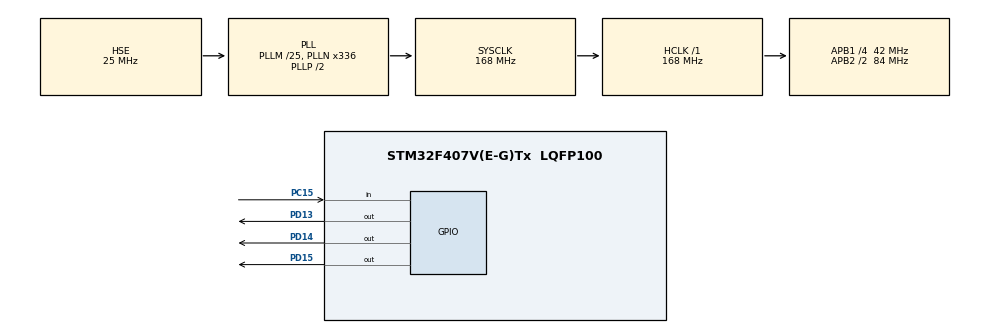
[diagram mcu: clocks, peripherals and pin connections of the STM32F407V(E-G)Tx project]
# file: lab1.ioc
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Mcu.Family=STM32F4
Mcu.Name=STM32F407V(E-G)Tx
Mcu.Package=LQFP100
NVIC.PriorityGroup=NVIC_PRIORITYGROUP_4
PA13.Mode=JTAG_5_pins
PA13.Signal=SYS_JTMS-SWDIO
PA14.Mode=JTAG_5_pins
PA14.Signal=SYS_JTCK-SWCLK
PA15.Mode=JTAG_5_pins
PA15.Signal=SYS_JTDI
PB3.Mode=JTAG_5_pins
PB3.Signal=SYS_JTDO-SWO
PB4.Mode=JTAG_5_pins
PB4.Signal=SYS_JTRST
PC15-OSC32_OUT.Signal=GPIO_Input
PD13.Signal=GPIO_Output
PD14.Signal=GPIO_Output
PD15.Signal=GPIO_Output
PH0-OSC_IN.Mode=HSE-External-Oscillator
PH0-OSC_IN.Signal=RCC_OSC_IN
PH1-OSC_OUT.Mode=HSE-External-Oscillator
PH1-OSC_OUT.Signal=RCC_OSC_OUT
ProjectManager.HeapSize=0x200
ProjectManager.StackSize=0x400
ProjectManager.TargetToolchain=STM32CubeIDE
RCC.48MHZClocksFreq_Value=84000000
RCC.AHBFreq_Value=168000000
RCC.APB1CLKDivider=RCC_HCLK_DIV4
RCC.APB1Freq_Value=42000000
RCC.APB1TimFreq_Value=84000000
RCC.APB2CLKDivider=RCC_HCLK_DIV2
RCC.APB2Freq_Value=84000000
RCC.APB2TimFreq_Value=168000000
RCC.CortexFreq_Value=168000000
RCC.HCLKFreq_Value=168000000
RCC.HSE_VALUE=25000000
RCC.HSI_VALUE=16000000
RCC.LSE_VALUE=32768
RCC.PLLM=25
RCC.PLLN=336
RCC.PLLSourceVirtual=RCC_PLLSOURCE_HSE
RCC.SYSCLKFreq_VALUE=168000000
RCC.SYSCLKSource=RCC_SYSCLKSOURCE_PLLCLK
RCC.VCOOutputFreq_Value=336000000
board=custom

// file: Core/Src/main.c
/* USER CODE BEGIN Header */
/**
  ******************************************************************************
  * @file           : main.c
  * @brief          : Main program body
  ******************************************************************************
  * @attention
  *
  * <h2><center>&copy; Copyright (c) 2021 STMicroelectronics.
  * All rights reserved.</center></h2>
  *
  * This software component is licensed by ST under BSD 3-Clause license,
  * the "License"; You may not use this file except in compliance with the
  * License. You may obtain a copy of the License at:
  *                        opensource.org/licenses/BSD-3-Clause
  *
  ******************************************************************************
  */
/* USER CODE END Header */
#include "main.h"
#include "gpio.h"

/* USER CODE BEGIN Includes */
#include "drivers.h"
/* USER CODE END Includes */

void SystemClock_Config(void);

int main(void)
{

  /* MCU Configuration--------------------------------------------------------*/

  /* Reset of all peripherals, Initializes the Flash interface and the Systick. */
  HAL_Init();

  /* Configure the system clock */
  SystemClock_Config();

  /* Initialize all configured peripherals */
  MX_GPIO_Init();
  /* USER CODE BEGIN 2 */

  //сюда массив сигналов

  /* USER CODE END 2 */

  /* Infinite loop */
  /* USER CODE BEGIN WHILE */
  GPIO_PinState btn_prev_state = GPIO_PIN_SET;
  uint32_t start_time;
  uint32_t stage_start_time = HAL_GetTick();
  uint32_t stage = 1;
  uint32_t signals[128];
  uint32_t iterator = 0;
  while (1)
  {
	  if (stage == 1) {
		  GPIO_PinState btn_state = HAL_GPIO_ReadPin(GPIOC, GPIO_PIN_15);
	  	  uint32_t down_time;
	  	  if (btn_state == GPIO_PIN_RESET && btn_prev_state == GPIO_PIN_SET){
	  		  stage_start_time = HAL_GetTick();
		  	  start_time = HAL_GetTick();
	  	  }
	  	  if (btn_state == GPIO_PIN_RESET && btn_prev_state == GPIO_PIN_RESET) {
	  		  stage_start_time = HAL_GetTick();
	  	  }
	  	  uint32_t stage_now_time = HAL_GetTick();
	  	  if (stage_now_time - stage_start_time > 5000) {
	  		  stage = 2;
	  	  }
	  	  if (btn_state == GPIO_PIN_SET) {
		  	  if (btn_prev_state == GPIO_PIN_RESET) {
			  	  down_time = HAL_GetTick();
			  	  if (down_time - start_time > 1000) {
			  		  blink(GPIO_PIN_15, 500, 1);
			  		  signals[iterator] = 1;
			  		  iterator++;
			  	  } else {
			  		  blink(GPIO_PIN_14, 100, 1);
			  		  signals[iterator] = 2;
			  		  iterator++;
			  	  }
			  	  stage_start_time = HAL_GetTick();
			  	  btn_prev_state = GPIO_PIN_SET;
		  	  }
	  	  }
	  	  btn_prev_state = btn_state;
	  } else if (stage == 2) {
		  for (int i = 0; i < iterator; i++) {
			  if (signals[i] == 2) {
				  //short signal
				  blink(GPIO_PIN_13, 100, 1);
			  } else {
				  //long signal
				  blink(GPIO_PIN_13, 500, 1);
			  }
		  }
		  blink(GPIO_PIN_15, 10000, 1);
		  return 0;
	  }
    /* USER CODE END WHILE */

  }
}

void SystemClock_Config(void)
{
  RCC_OscInitTypeDef RCC_OscInitStruct = {0};
  RCC_ClkInitTypeDef RCC_ClkInitStruct = {0};

  /** Configure the main internal regulator output voltage
  */
  __HAL_RCC_PWR_CLK_ENABLE();
  __HAL_PWR_VOLTAGESCALING_CONFIG(PWR_REGULATOR_VOLTAGE_SCALE1);
  /** Initializes the RCC Oscillators according to the specified parameters
  * in the RCC_OscInitTypeDef structure.
  */
  RCC_OscInitStruct.OscillatorType = RCC_OSCILLATORTYPE_HSE;
  RCC_OscInitStruct.HSEState = RCC_HSE_ON;
  RCC_OscInitStruct.PLL.PLLState = RCC_PLL_ON;
  RCC_OscInitStruct.PLL.PLLSource = RCC_PLLSOURCE_HSE;
  RCC_OscInitStruct.PLL.PLLM = 25;
  RCC_OscInitStruct.PLL.PLLN = 336;
  RCC_OscInitStruct.PLL.PLLP = RCC_PLLP_DIV2;
  RCC_OscInitStruct.PLL.PLLQ = 4;
  if (HAL_RCC_OscConfig(&RCC_OscInitStruct) != HAL_OK)
  {
    Error_Handler();
  }
  /** Initializes the CPU, AHB and APB buses clocks
  */
  RCC_ClkInitStruct.ClockType = RCC_CLOCKTYPE_HCLK|RCC_CLOCKTYPE_SYSCLK
                              |RCC_CLOCKTYPE_PCLK1|RCC_CLOCKTYPE_PCLK2;
  RCC_ClkInitStruct.SYSCLKSource = RCC_SYSCLKSOURCE_PLLCLK;
  RCC_ClkInitStruct.AHBCLKDivider = RCC_SYSCLK_DIV1;
  RCC_ClkInitStruct.APB1CLKDivider = RCC_HCLK_DIV4;
  RCC_ClkInitStruct.APB2CLKDivider = RCC_HCLK_DIV2;

  if (HAL_RCC_ClockConfig(&RCC_ClkInitStruct, FLASH_LATENCY_5) != HAL_OK)
  {
    Error_Handler();
  }
}

void Error_Handler(void)
{
  __disable_irq();
  while (1)
  {
  }
}

/************************ (C) COPYRIGHT STMicroelectronics *****END OF FILE****/
